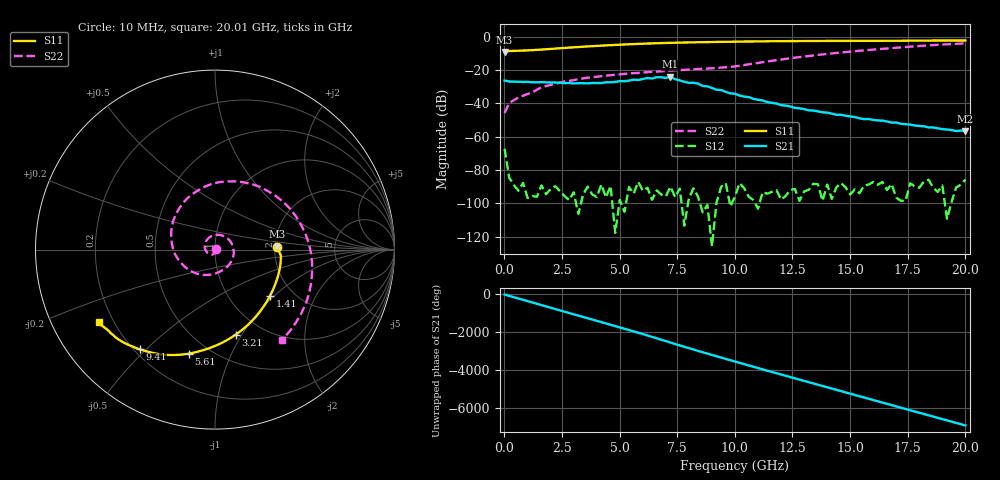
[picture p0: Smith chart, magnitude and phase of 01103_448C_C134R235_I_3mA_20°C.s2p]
!;Filter: kein Filter
!auto
!3/21/2019 9:27:07 AM
!3/21/2019 9:27:22 AM
!SP-Measurements Prober G4
!SP-Measurements Prober G4
!134
!235
!12
!20
!-20
!0.00299959
!1.83
!0.38139174
!0.38139174
# Hz S  RI  R 50
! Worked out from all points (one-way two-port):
!   101 points, 10 MHz to 20.01 GHz, reference 50 ohm
!   highest |S21| = -24.11 dB at 7.21 GHz (marker M1); lowest = -56.8 dB at 20.01 GHz (marker M2)
!   lowest |S11| = -9.2 dB at 10 MHz (marker M3), VSWR 2.06, Z = 103 + j3.95 ohm
!   |S11| at or under -10 dB: nowhere
!   |S22| runs from -45.8 to -4.1 dB; largest |S21 - S12| = 0.062
!   S11 on the Smith chart (normalised r, x): 10 MHz: 2.05, +0.08; 1.41 GHz: 1.53, -0.94; 3.21 GHz: 0.76, -0.94; 5.61 GHz: 0.39, -0.70; 9.41 GHz: 0.22, -0.48; 20.01 GHz: 0.14, -0.28
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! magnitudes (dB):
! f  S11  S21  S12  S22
! 10 MHz  -9.2  -26.3  -67.3  -45.8
! 210 MHz  -8.7  -26.9  -84.7  -39.9
! 610 MHz  -8.5  -27.1  -92.5  -36.5
! 1.41 GHz  -7.9  -27.4  -96.1  -31.9
! 1.81 GHz  -7.6  -27.4  -94.6  -29.6
! 3.21 GHz  -6.2  -27.9  -106.4  -25.6
! 3.41 GHz  -6.1  -27.9  -95.2  -25.1
! 4.21 GHz  -5.4  -27.8  -88.7  -23.7
! 5.61 GHz  -4.5  -25.8  -94.2  -21.9
! 6.81 GHz  -3.9  -24.4  -94.7  -20.8
! 7.01 GHz  -3.8  -24.8  -95.8  -20.6
! 7.21 GHz  -3.7  -24.1  -90.0  -20.4
! 7.81 GHz  -3.5  -27.0  -113.5  -19.9
! 8.41 GHz  -3.4  -28.2  -96.2  -19.4
! 8.61 GHz  -3.3  -29.6  -105.5  -19.3
! 9.41 GHz  -3.1  -32.1  -90.1  -18.6
! 10.01 GHz  -3.0  -34.3  -95.9  -17.9
! 12.01 GHz  -2.7  -41.1  -97.7  -13.8
! 13.41 GHz  -2.6  -44.3  -88.3  -11.3
! 16.81 GHz  -2.5  -51.6  -88.4  -6.9
! 19.61 GHz  -2.3  -56.7  -90.4  -4.3
! 20.01 GHz  -2.3  -56.8  -85.8  -4.1
